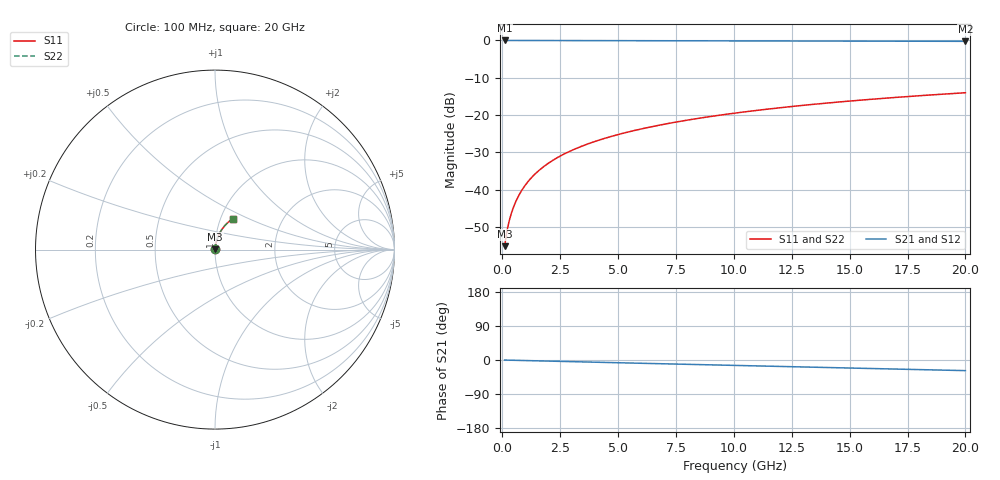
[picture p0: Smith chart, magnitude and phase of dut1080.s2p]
! Touchstone file exported from HFSS 2026.1.0
!  File:  C:/ffzhzh/LocalFiles/Ansys_Project_Files/temp_train_TMRDL_1080_1783160883_55132.aedt
!  Generated:  06:29:22 PM Jul  4, 2026
!  Design:  TMRDL
!  Project:  temp_train_TMRDL_1080_1783160883_55132
! Variables:
!  h_bsmrdl = 2um
!  h_ox = 20um
!  h_rdl = 5um
!  h_sub = 80um
!  h_tmrdl = 5.63um
!  h_tsv = 80um
!  h_via = 3um
!  l_bsmrdl = 300um
!  l_sub = 831.19um
!  l_tmrdl = 431.19um
!  m_sub = 200um
!  pitch = 46.96um
!  r_tsv = 6um
!  s_tmrdl = 10um
!  w_bsmrdl = 18um
!  w_sub = 500um
!  w_tmrdl = 27.45um
!  x_tsv_center1 = 444.915um
!  x_tsv_center2 = 762.915um
!  x_tsv_center3 = 1221.555um
!  x_tsv_center4 = 1539.555um
!  x_tsv_center5 = 1998.195um
!  x_tsv_center6 = 2316.195um
# GHz S MA R 50.000000
! Terminal data exported
! Port[1] = TM_RDL1_1_T1
! Port[2] = TM_RDL1_1_T2
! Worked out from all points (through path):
!   200 points, 100 MHz to 20 GHz, reference 50 ohm
!   highest |S21| = -0.01 dB at 100 MHz (marker M1); lowest = -0.2 dB at 20 GHz (marker M2)
!   group delay of S21, straight-line fit = 3.89 ps
!   lowest |S11| = -55.1 dB at 100 MHz (marker M3), VSWR 1.00, Z = 50.1 + j0.13 ohm
!   |S11| at or under -10 dB: start of sweep to end of sweep
!   |S22| runs from -55.1 to -14.0 dB; largest |S21 - S12| = 2.1e-15
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0.1  0.00176 47.5  0.9988 -0.2  0.9988 -0.2  0.00176 47.5
! Gamma 0 0 0 0
! Port Impedance 50 0 50 0
0.2  0.002798 61.9  0.9987 -0.3  0.9987 -0.3  0.002798 61.9
0.3  0.003859 68.6  0.9986 -0.5  0.9986 -0.5  0.003859 68.6
0.4  0.004939 72.6  0.9986 -0.6  0.9986 -0.6  0.004939 72.6
0.5  0.006035 75.2  0.9985 -0.7  0.9985 -0.7  0.006035 75.2
0.6  0.007144 77.0  0.9985 -0.9  0.9985 -0.9  0.007144 77.0
0.8  0.00938 79.2  0.9984 -1.2  0.9984 -1.2  0.00938 79.2
1.1  0.01275 80.8  0.9982 -1.6  0.9982 -1.6  0.01275 80.8
1.3  0.015 81.3  0.9981 -1.9  0.9981 -1.9  0.015 81.3
1.5  0.01724 81.6  0.998 -2.2  0.998 -2.2  0.01724 81.6
1.8  0.02058 81.8  0.9978 -2.6  0.9978 -2.6  0.02058 81.8
2.1  0.0239 81.7  0.9975 -3.1  0.9975 -3.1  0.0239 81.7
2.7  0.03047 81.3  0.997 -3.9  0.997 -3.9  0.03047 81.3
3.5  0.03909 80.5  0.9963 -5.1  0.9963 -5.1  0.03909 80.6
4.2  0.04652 79.8  0.9956 -6.1  0.9956 -6.1  0.04652 79.8
5  0.05492 78.9  0.9948 -7.2  0.9948 -7.2  0.05492 78.9
6.8  0.07355 76.8  0.9929 -9.8  0.9929 -9.8  0.07355 76.8
8.3  0.08884 74.9  0.9911 -11.9  0.9911 -11.9  0.08884 74.9
10.1  0.1069 72.7  0.9888 -14.4  0.9888 -14.4  0.1069 72.7
13.4  0.1391 68.4  0.9841 -19.0  0.9841 -19.0  0.1391 68.5
16.7  0.17 64.1  0.9786 -23.5  0.9786 -23.5  0.17 64.2
20  0.1993 59.8  0.9725 -28.0  0.9725 -28.0  0.1993 59.9
